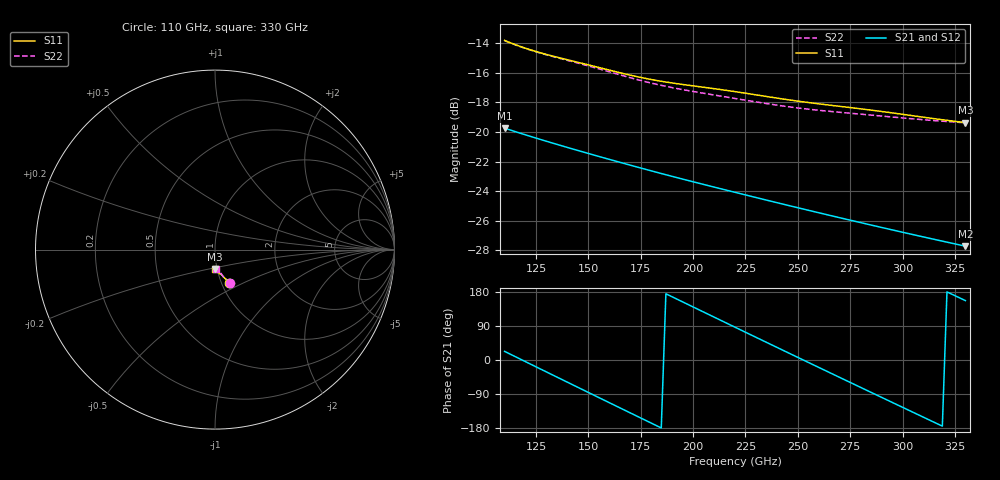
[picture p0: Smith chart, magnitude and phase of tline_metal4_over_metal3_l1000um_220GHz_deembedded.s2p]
! Created with skrf 2.2.0 (http://scikit-rf.org).
# GHz S DB R 50.0
! Port[1] = P1
! Port[2] = P2
!freq dBS11 angS11 dBS21 angS21 dBS12 angS12 dBS22 angS22
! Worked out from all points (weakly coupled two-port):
!   101 points, 110 GHz to 330 GHz, reference 50 ohm
!   highest |S21| = -19.75 dB at 110 GHz (marker M1); lowest = -27.7 dB at 330 GHz (marker M2)
!   lowest |S11| = -19.4 dB at 330 GHz (marker M3), VSWR 1.24, Z = 48.8 - j10.6 ohm
!   |S11| at or under -10 dB: start of sweep to end of sweep
!   |S22| runs from -19.4 to -13.8 dB; largest |S21 - S12| = 8.2e-14
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110  -13.82 -66.8  -19.75 22.7  -19.75 22.7  -13.83 -66.4
116.6  -14.18 -67.4  -20.05 4.8  -20.05 4.8  -14.19 -67.1
125.4  -14.58 -68.2  -20.43 -19.1  -20.43 -19.1  -14.60 -67.9
136.4  -15.00 -69.4  -20.90 -48.9  -20.90 -48.9  -15.03 -69.2
147.4  -15.38 -70.8  -21.35 -78.6  -21.35 -78.6  -15.44 -70.8
156.2  -15.69 -72.0  -21.70 -102.4  -21.70 -102.4  -15.78 -72.1
167.2  -16.07 -73.2  -22.14 -132.1  -22.14 -132.1  -16.22 -73.4
176  -16.34 -74.0  -22.48 -155.7  -22.48 -155.7  -16.56 -74.2
184.8  -16.57 -74.7  -22.81 -179.3  -22.81 -179.3  -16.85 -74.8
193.6  -16.76 -75.5  -23.14 157.1  -23.14 157.1  -17.10 -75.3
204.6  -16.97 -76.7  -23.53 127.7  -23.53 127.7  -17.38 -76.2
213.4  -17.14 -77.9  -23.85 104.2  -23.85 104.2  -17.58 -76.9
220  -17.28 -78.8  -24.08 86.6  -24.08 86.6  -17.74 -77.5
228.8  -17.47 -79.9  -24.39 63.1  -24.39 63.1  -17.94 -78.2
239.8  -17.71 -81.2  -24.77 33.9  -24.77 33.9  -18.18 -78.9
248.6  -17.89 -82.2  -25.07 10.6  -25.07 10.6  -18.35 -79.5
257.4  -18.05 -83.1  -25.37 -12.7  -25.37 -12.7  -18.50 -80.0
268.4  -18.24 -84.2  -25.74 -41.8  -25.74 -41.8  -18.65 -80.7
277.2  -18.39 -85.2  -26.04 -65.0  -26.04 -65.0  -18.76 -81.5
294.8  -18.71 -87.2  -26.61 -111.2  -26.61 -111.2  -18.99 -83.0
312.4  -19.05 -88.9  -27.17 -157.3  -27.17 -157.3  -19.20 -84.5
330  -19.37 -90.2  -27.72 156.8  -27.72 156.8  -19.38 -86.0
